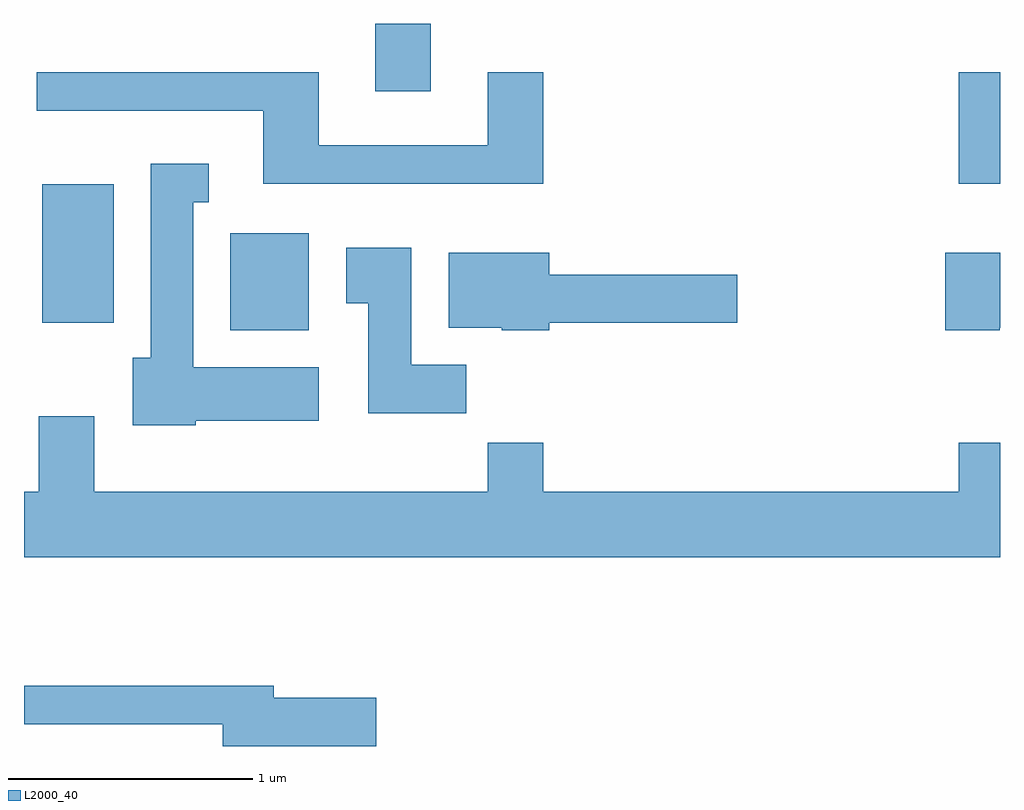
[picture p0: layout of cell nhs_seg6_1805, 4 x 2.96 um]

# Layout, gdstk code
import gdstk
lib = gdstk.Library(unit=1e-6, precision=1e-09)
def R(c, l, rs):  # rectangles x0, y0, x1, y1
    for r in rs: c.add(gdstk.rectangle(r[:2], r[2:], *l))
def P(c, l, *ps):  # polygons
    for p in ps: c.add(gdstk.Polygon(p, *l))
L2000_40 = (2000, 40)

nhs_seg6_1805 = lib.new_cell('nhs_seg6_1805')
R(nhs_seg6_1805, L2000_40, [(240.456,1610.906,240.779,1611.304), (239.686,1610.936,239.979,1611.504), (243.441,1611.506,243.611,1611.964), (241.051,1611.886,241.279,1612.162)])
P(nhs_seg6_1805, L2000_40, [(241.739,1611.964),(241.511,1611.964),(241.511,1611.664),(240.819,1611.664),(240.819,1611.964),(239.663,1611.964),(239.663,1611.806),(240.591,1611.806),(240.591,1611.506),(241.739,1611.506)],
  [(240.314,1610.536),(240.819,1610.536),(240.819,1610.754),(240.304,1610.754),(240.304,1611.431),(240.368,1611.431),(240.368,1611.589),(240.131,1611.589),(240.131,1610.794),(240.056,1610.794),(240.056,1610.516),(240.314,1610.516)],
  [(241.424,1610.764),(241.199,1610.764),(241.199,1611.244),(240.931,1611.244),(240.931,1611.016),(241.021,1611.016),(241.021,1610.566),(241.424,1610.566)],
  [(241.764,1610.936),(242.534,1610.936),(242.534,1611.134),(241.764,1611.134),(241.764,1611.224),(241.351,1611.224),(241.351,1610.916),(241.57,1610.916),(241.57,1610.906),(241.764,1610.906)],
  [(243.61,1610.916),(243.611,1610.916),(243.611,1611.224),(243.386,1611.224),(243.386,1610.906),(243.61,1610.906)],
  [(243.611,1610.444),(243.441,1610.444),(243.441,1610.244),(241.739,1610.244),(241.739,1610.444),(241.511,1610.444),(241.511,1610.244),(239.899,1610.244),(239.899,1610.554),(239.671,1610.554),(239.671,1610.244),(239.611,1610.244),(239.611,1609.976),(243.611,1609.976)],
  [(241.054,1609.399),(240.634,1609.399),(240.634,1609.449),(239.611,1609.449),(239.611,1609.291),(240.426,1609.291),(240.426,1609.201),(241.054,1609.201)])

lib.write_gds('nhs_seg6_1805.gds')
